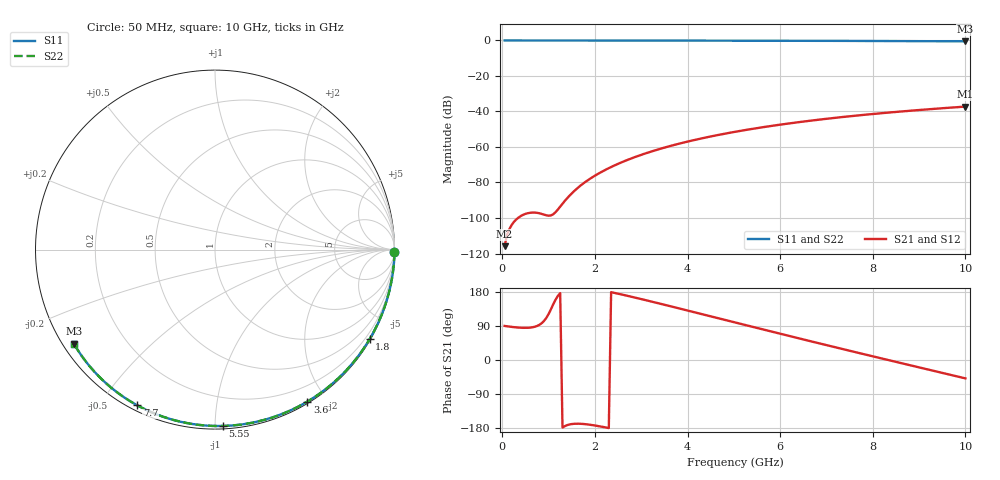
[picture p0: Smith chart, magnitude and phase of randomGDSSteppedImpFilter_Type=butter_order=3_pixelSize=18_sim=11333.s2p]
! freq	dB(S11)	phase(S11)	dB(S12)	phase(S12)
!  dB(S21)	phase(S21)	dB(S22)	phase(S22)
!S-par simulation data
#  GHz  S  DB  R 50
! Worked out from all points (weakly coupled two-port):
!   200 points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, 50 MHz to 10 GHz, reference 50 ohm
!   highest |S21| = -37.26 dB at 10 GHz (marker M1); lowest = -115.9 dB at 50 MHz (marker M2)
!   lowest |S11| = -0.5 dB at 10 GHz (marker M3), VSWR 35.49, Z = 1.54 - j15.1 ohm
!   |S11| at or under -10 dB: nowhere
!   |S22| runs from -0.5 to 0.0 dB; largest |S21 - S12| = 0
!   S11 on the Smith chart (normalised r, x): 50 MHz: open; 1.8 GHz: 0.03, -3.72; 3.6 GHz: 0.02, -1.78; 5.55 GHz: 0.02, -1.05; 7.7 GHz: 0.02, -0.62; 10 GHz: 0.03, -0.30
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0.05  -0.00 -0.9  -115.87 89.8  -115.87 89.8  -0.00 -0.9
0.45  -0.01 -7.7  -98.21 84.9  -98.21 84.9  -0.01 -7.7
0.9  -0.02 -15.2  -98.08 102.9  -98.08 102.9  -0.02 -15.2
1.3  -0.03 -21.9  -91.95 -178.3  -91.95 -178.3  -0.03 -21.9
1.75  -0.04 -29.3  -80.52 -168.8  -80.52 -168.8  -0.04 -29.3
1.8  -0.04 -30.1  -79.57 -169.4  -79.57 -169.4  -0.04 -30.1
1.95  -0.04 -32.6  -76.95 -171.8  -76.95 -171.8  -0.04 -32.6
2.1  -0.04 -35.0  -74.65 -174.9  -74.65 -174.9  -0.04 -35.0
2.3  -0.05 -38.3  -71.91 -179.7  -71.91 -179.7  -0.05 -38.3
2.5  -0.05 -41.5  -69.49 175.0  -69.49 175.0  -0.05 -41.5
2.9  -0.06 -47.8  -65.34 163.7  -65.34 163.7  -0.06 -47.8
3.4  -0.07 -55.7  -61.11 148.9  -61.11 148.9  -0.07 -55.7
3.6  -0.08 -58.7  -59.63 142.8  -59.63 142.8  -0.08 -58.7
4.3  -0.10 -69.3  -55.18 121.4  -55.18 121.4  -0.10 -69.3
5.05  -0.12 -80.3  -51.34 98.4  -51.34 98.4  -0.12 -80.3
5.55  -0.14 -87.4  -49.17 83.1  -49.17 83.1  -0.14 -87.4
6.1  -0.17 -95.1  -47.06 66.3  -47.06 66.3  -0.17 -95.1
6.7  -0.20 -103.3  -45.04 48.2  -45.04 48.2  -0.20 -103.3
7.7  -0.27 -116.6  -42.18 18.5  -42.18 18.5  -0.27 -116.6
8.35  -0.32 -125.0  -40.59 -0.6  -40.59 -0.6  -0.32 -125.0
9.2  -0.40 -136.0  -38.76 -25.3  -38.76 -25.3  -0.40 -136.0
10  -0.49 -146.3  -37.26 -48.5  -37.26 -48.5  -0.49 -146.3
